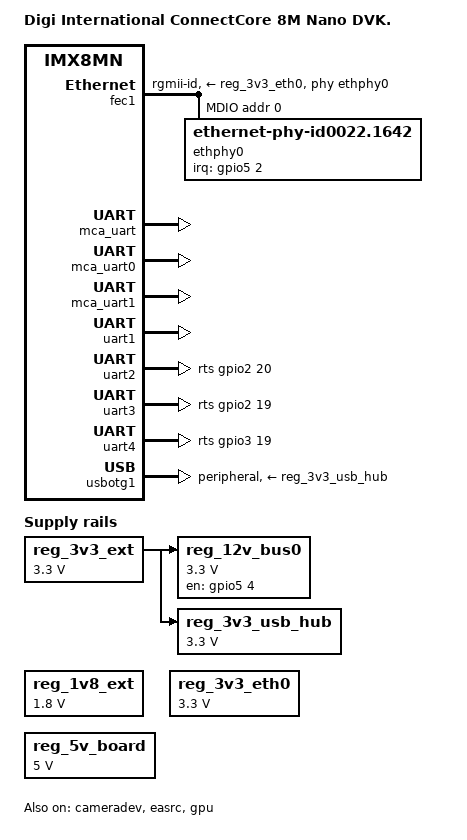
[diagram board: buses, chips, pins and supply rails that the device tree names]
/*
 * Copyright (C) 2019-2025, Digi International Inc.
 *
 * Permission to use, copy, modify, and/or distribute this software for any
 * purpose with or without fee is hereby granted, provided that the above
 * copyright notice and this permission notice appear in all copies.
 * THE SOFTWARE IS PROVIDED "AS IS" AND THE AUTHOR DISCLAIMS ALL WARRANTIES
 * WITH REGARD TO THIS SOFTWARE INCLUDING ALL IMPLIED WARRANTIES OF
 * MERCHANTABILITY AND FITNESS. IN NO EVENT SHALL THE AUTHOR BE LIABLE FOR
 * ANY SPECIAL, DIRECT, INDIRECT, OR CONSEQUENTIAL DAMAGES OR ANY DAMAGES
 * WHATSOEVER RESULTING FROM LOSS OF USE, DATA OR PROFITS, WHETHER IN AN
 * ACTION OF CONTRACT, NEGLIGENCE OR OTHER TORTIOUS ACTION, ARISING OUT OF
 * OR IN CONNECTION WITH THE USE OR PERFORMANCE OF THIS SOFTWARE.
 */
// uart Versuche nr. 0054

/dts-v1/;

/*
 * The device tree for the ConnectCore 8M Nano DVK is made out of different
 * device tree include files that contain the common hardware of all variants.
 *
 * A U-Boot boot script applies additional overlays for variant-specific
 * hardware, including:
 *  - Overlay for ConnectCore 8M Nano variants with Wi-Fi
 *  - Overlay for ConnectCore 8M Nano variants with Bluetooth
 *
 * The boot script also applies a special overlay when running on
 * ConnectCore 8M Nano SOMs with hardware revision 1. This overlay changes
 * important interface configurations that are required to boot the system
 * properly on said hardware revision.
 *
 * If you are not going to use Digi's boot script, you can:
 *  - Manually add the overlays to U-Boot's "overlays" environment variable
 *  - Apply the overlay fragments manually to this device tree, if you don't
 *    use Digi U-Boot's "dboot" command
 */
/* i.MX8MN CPU */
#include "../freescale/imx8mn.dtsi"
/* Digi ConnectCore 8M Nano */
#include "ccimx8mn.dtsi"

/ {
	model = "Digi International ConnectCore 8M Nano DVK.";
	compatible = "digi,ccimx8mn-dvk", "digi,ccimx8mn", "digi,ccimx8m", "digi,ccimx8", "fsl,imx8mn";
	digi,machine,name = "ccimx8mn-dvk";

	chosen {
		bootargs = "console=ttymxc0,115200 earlycon=ec_imx6q,0x30860000,115200";
		stdout-path = &uart1;
	};


	regulators {
		compatible = "simple-bus";
		#address-cells = <1>;
		#size-cells = <0>;

		reg_3v3_ext: regulator@1 {
			compatible = "regulator-fixed";
			reg = <1>;
			regulator-name = "3v3_ext";
			regulator-min-microvolt = <3300000>;
			regulator-max-microvolt = <3300000>;
//			gpio = <&mca_gpio 9 GPIO_ACTIVE_HIGH>;	// AG29 RS232_RX
			enable-active-high;
			regulator-always-on;
			regulator-boot-on;
		};

		reg_1v8_ext: regulator@2 {
			compatible = "regulator-fixed";
			reg = <2>;
			regulator-name = "1v8_ext";
			regulator-min-microvolt = <1800000>;
			regulator-max-microvolt = <1800000>;
//			gpio = <&mca_gpio 14 GPIO_ACTIVE_HIGH>;	// AL26 ADC4
			enable-active-high;
			regulator-always-on;
			regulator-boot-on;
		};

/*		reg_3v3_eth0: regulator@3 {
			compatible = "regulator-fixed";
			reg = <3>;
			pinctrl-names = "default";
			pinctrl-0 = <&pinctrl_reg_3v3_eth0>;
			regulator-name = "3v3_eth0";
			regulator-min-microvolt = <3300000>;
			regulator-max-microvolt = <3300000>;
			gpio = <&gpio5 4 GPIO_ACTIVE_HIGH>;	// AF1 PS_EN
			enable-active-high;
			startup-delay-us = <10000>;
			vin-supply = <&reg_3v3_ext>;
		};*/

		reg_3v3_eth0: regulator-ethphy {
			compatible = "regulator-fixed";
			off-on-delay=<500000>;
			regulator-always-on;
			regulator-boot-on;
			
			regulator-min-microvolt = <3300000>;
			regulator-max-microvolt = <3300000>;
			regulator-name = "3v3_eth0";
			startup-delay-us = <200000>;
			
		};

		// PS_EN für 12V
		reg_12v_bus0: regulator@3 {
			compatible = "regulator-fixed";
			reg = <3>;
			pinctrl-names = "default";
			pinctrl-0 = <&pinctrl_reg_12v_bus0>;
			regulator-name = "3v3_eth0";
			regulator-min-microvolt = <3300000>;
			regulator-max-microvolt = <3300000>;
			gpio = <&gpio5 4 GPIO_ACTIVE_HIGH>;	// AF1 PS_EN
			enable-active-high;
			startup-delay-us = <10000>;
			vin-supply = <&reg_3v3_ext>;
		};

		reg_5v_board: regulator@4 {
			compatible = "regulator-fixed";
			reg = <4>;
			pinctrl-names = "default";
			pinctrl-0 = <&pinctrl_reg_5v_board>;
			regulator-name = "5v_board";
			regulator-min-microvolt = <5000000>;
			regulator-max-microvolt = <5000000>;
//			gpio = <&gpio1 6 GPIO_ACTIVE_HIGH>;		// E26 GPIB D5
			enable-active-high;
		};

/*		reg_3v3_audio: regulator@5 {
			compatible = "regulator-fixed";
			reg = <5>;
			pinctrl-names = "default";
			pinctrl-0 = <&pinctrl_reg_3v3_aud>;
			regulator-name = "3v3_audio";
			regulator-min-microvolt = <3300000>;
			regulator-max-microvolt = <3300000>;
//			gpio = <&gpio3 24 GPIO_ACTIVE_HIGH>;	// E27 TTL I Switch
			enable-active-high;
			startup-delay-us = <1000>;
			vin-supply = <&reg_3v3_ext>;
		};
*/
		reg_3v3_usb_hub: regulator@6 {
			compatible = "regulator-fixed";
			reg = <6>;
			pinctrl-names = "default";
			pinctrl-0 = <&pinctrl_reg_3v3_usb_hub>;
			regulator-name = "3v3_usb_hub";
			regulator-min-microvolt = <3300000>;
			regulator-max-microvolt = <3300000>;
//			gpio = <&gpio3 25 GPIO_ACTIVE_HIGH>;	// C24 TTL I Frei
			enable-active-high;
			vin-supply = <&reg_3v3_ext>;
		};

	};

};

&cameradev {
	status = "okay";
};

&easrc {
	fsl,asrc-rate  = <48000>;
	status = "okay";
};


&fec1 {
	pinctrl-names = "default";
	pinctrl-0 = <&pinctrl_fec1_gpio>,
		    <&pinctrl_fec1>;
	phy-mode = "rgmii-id";
	phy-handle = <&ethphy0>;
	digi,mdio-lt-supply = <&reg_1v8_ext>;
	phy-supply = <&reg_3v3_eth0>;
//	phy-supply = <&reg_12v_bus0>;	// enables 12V bus0 supply; wrong place! 
	
	/* @Mezrher This will have no effect because fec reset uncomented in fec_mxc.c*/
	
	//phy-reset-gpios = <&gpio5 3 GPIO_ACTIVE_LOW>;  
	//phy-reset-duration = <1>;
	//digi,phy-reset-in-suspend;
	
       
	fsl,magic-packet;
	status = "okay";

	mdio {
		#address-cells = <1>;
		#size-cells = <0>;

		ethphy0: ethernet-phy@0 {
			compatible = "ethernet-phy-id0022.1642","ethernet-phy-ieee802.3-c22";
			reg = <0>;
		 	interrupt-parent = <&gpio5>;         
			interrupts = <2 IRQ_TYPE_LEVEL_LOW>;  
			micrel,led-mode=<1>;
		};
	};
};
/*
&fec1 {
	pinctrl-names = "default";
	pinctrl-0 = <&pinctrl_fec1_gpio>,
		    <&pinctrl_fec1>;
	phy-mode = "rgmii-id";
	phy-handle = <&ethphy0>;
	digi,mdio-lt-supply = <&reg_1v8_ext>;
	phy-supply = <&reg_3v3_eth0>;
	phy-reset-gpios = <&gpio5 3 GPIO_ACTIVE_LOW>;
	phy-reset-duration = <1>;
	digi,phy-reset-in-suspend;
	fsl,magic-packet;
	status = "okay";

	mdio {
		#address-cells = <1>;
		#size-cells = <0>;

		ethphy0: ethernet-phy@0 {
			compatible = "ethernet-phy-ieee802.3-c22";
			reg = <0>;
			at803x,eee-disabled;
			vddio-supply = <&vddio0>;

			vddio0: vddio-regulator {
				regulator-min-microvolt = <1800000>;
				regulator-max-microvolt = <1800000>;
			};
		};
	};
};
*/
&gpu {
	status = "okay";
};

/*
 * I2C2 connected to Audio codec.
 * Also available on:
 * - LVDS connector
 * - PCIe connector
 * - MIPI Camera connector
 * - Expansion connector
 */
/*
&i2c2 {
	#address-cells = <1>;
	#size-cells = <0>;
	clock-frequency = <100000>;
	pinctrl-names = "default", "gpio";
	pinctrl-0 = <&pinctrl_i2c2>;
	pinctrl-1 = <&pinctrl_i2c2_gpio>;
	scl-gpios = <&gpio5 16 (GPIO_ACTIVE_HIGH | GPIO_OPEN_DRAIN)>;
	sda-gpios = <&gpio5 17 (GPIO_ACTIVE_HIGH | GPIO_OPEN_DRAIN)>;
	status = "okay";
};
*/
/*
 * I2C3 connected to LT8912 MIPI-to-HDMI bridge and SN65DSI83 MIPI-to-LVDS bridge.
 * Also available on the HDMI connector.
 */
/*&i2c3 {
	clock-frequency = <100000>;
	pinctrl-names = "default", "gpio";
	pinctrl-0 = <&pinctrl_i2c3>;
	pinctrl-1 = <&pinctrl_i2c3_gpio>;
	scl-gpios = <&gpio5 18 (GPIO_ACTIVE_HIGH | GPIO_OPEN_DRAIN)>;
	sda-gpios = <&gpio5 19 (GPIO_ACTIVE_HIGH | GPIO_OPEN_DRAIN)>;
	status = "okay";

};*/

/* Expansion I2C port bus */
/*&i2c4 {
	clock-frequency = <100000>;
	pinctrl-names = "default", "gpio";
	pinctrl-0 = <&pinctrl_i2c4>;
	pinctrl-1 = <&pinctrl_i2c4_gpio>;
	scl-gpios = <&gpio5 20 (GPIO_ACTIVE_HIGH | GPIO_OPEN_DRAIN)>;
	sda-gpios = <&gpio5 21 (GPIO_ACTIVE_HIGH | GPIO_OPEN_DRAIN)>;
	status = "okay";
};

&isi_0 {
	status = "okay";

	cap_device {
		status = "okay";
	};
};

&lcdif {
	status = "okay";
};
*/
/*
 * Uncomment to enable MCA ADC channels on the XBee Cellular socket:
 *  - MCA_IO1 (channel 1) at XBEE1_UART_TX
 *  - MCA_IO2 (channel 2) at XBEE1_UART_RX
 *  - MCA_IO3 (channel 3) at XBEE1_UART_CTS
 *  - MCA_IO4 (channel 4) at XBEE1_UART_RTS
 *
 * These pins are used also by mca_uart2 below.
 * mca_uart2 must be disabled to be able to use these pins as ADCs.
 *
 * Edit adc-ch-list to include the ADC channels that you want to enable.
 */
&mca_adc {
	digi,adc-ch-list = <1 2 3 4 14>;
	digi,adc-vref = <3000000>;
};

/*
 * Uncomment to Enable Tamper detection. There are 2 digital (0 and 1) and 2
 * analog (2 and 3) tamper interfaces.
 */
//&mca_tamper {
//	digi,tamper-if-list = <0 1 2 3>;
//};

&mca_uart {
	status = "okay";
};

/* Assign the IO pins (see bindings) and change status to okay */
&mca_uart0 {	// RS232
	iopins-names = "rx", "tx";
	iopins = <9 10>;
	status = "okay";
};

/* Assign the IO pins (see bindings) and change status to okay */
&mca_uart1 {	// RS485
	iopins-names = "rx", "tx";
	iopins = <11 16>;
	status = "okay";
};

/* UART connected to XBee Cellular socket */
//&mca_uart2 {
//	iopins-names = "rx", "tx", "cts", "rts";
//	iopins = <2 1 3 4>;
//	status = "disabled";
//};
/*
&pwm2 {
	pinctrl-names = "default";
	pinctrl-0 = <&pinctrl_pwm2>;
	status = "okay";
};

&pwm3 {
	pinctrl-names = "default";
	pinctrl-0 = <&pinctrl_pwm3>;
	status = "okay";
};

&pwm4 {
	pinctrl-names = "default";
	pinctrl-0 = <&pinctrl_pwm4>;
	status = "okay";
};

*/
/* Console */
&uart1 {
	pinctrl-names = "default", "sleep";
	pinctrl-0 = <&pinctrl_uart1>;
	pinctrl-1 = <&pinctrl_uart1_sleep>;
	status = "okay";
};

// Bus0
/*
&uart2 {
	pinctrl-names = "default";
	assigned-clocks = <&clk IMX8MN_CLK_UART2>;
	assigned-clock-parents = <&clk IMX8MN_SYS_PLL1_80M>;
	pinctrl-0 = <&pinctrl_uart2>;
//	pinctrl-0 = <&pinctrl_uart2>, <&pinctrl_uart2_gpios>;
//	pinctrl-0 = <&pinctrl_uart2_bus0>;
	fsl,uart-has-rtscts;
	status = "okay";
};
*/
// Bus0
&uart2 {
	pinctrl-names = "default";
	assigned-clocks = <&clk IMX8MN_CLK_UART2>;
	assigned-clock-parents = <&clk IMX8MN_SYS_PLL1_80M>;
//	pinctrl-0 = <&pinctrl_uart2_rs485>, <&pinctrl_uart2_rs485_re>, <&pinctrl_uart2_gpios>;
	pinctrl-0 = <&pinctrl_uart2_rs485>, <&pinctrl_uart2_rs485_re>;
	rts-gpios = <&gpio2 20 GPIO_ACTIVE_HIGH>;
	status = "okay";
};

// Bus1
&uart3 {
	pinctrl-names = "default";
	assigned-clocks = <&clk IMX8MN_CLK_UART3>;
	assigned-clock-parents = <&clk IMX8MN_SYS_PLL1_80M>;
	pinctrl-0 = <&pinctrl_uart3_rs485>, <&pinctrl_uart3_rs485_re>;
	rts-gpios = <&gpio2 19 GPIO_ACTIVE_HIGH>;
//	rts-gpios = <&gpio5 8 GPIO_ACTIVE_HIGH>;
	status = "okay";
};


&uart4 {	// Bus 2 GPIO	Test: echo "a" > /dev/ttymxc3
	pinctrl-names = "default";
	pinctrl-0 = <&pinctrl_uart4_rs485>, <&pinctrl_uart4_rs485_re>;
	assigned-clocks = <&clk IMX8MN_CLK_UART4>;
	assigned-clock-parents = <&clk IMX8MN_SYS_PLL1_80M>;
	rts-gpios = <&gpio3 19 GPIO_ACTIVE_HIGH>;
	status = "okay";
};

/* USB_OTG1 connected to usb hub */
&usbotg1 {
	pinctrl-names = "default";
	pinctrl-0 = <&pinctrl_usbotg1>;

	vbus-supply = <&reg_3v3_usb_hub>;
//	dr_mode = "host";
	dr_mode = "peripheral";
	disable-over-current;
	status = "okay";
};

/* IOMUX */
&iomuxc {
	pinctrl-names = "default";
//	pinctrl-0 = <&pinctrl_hog>;
	pinctrl-0 = <&pinctrl_uart2_gpios>, <&pinctrl_ilock>, <&pinctrl_ttl_i>, <&pinctrl_ttl_o>, <&pinctrl_gpib>, <&pinctrl_gpios>;
//	pinctrl-0 = <&pinctrl_uart2_gpios>, <&pinctrl_ilock>, <&pinctrl_ttl_i>, <&pinctrl_ttl_o>;

	pinctrl_hog: hoggrp {
		fsl,pins = <
			/* GPIO1_IO10 on expansion connector */
//			MX8MN_IOMUXC_GPIO1_IO10_GPIO1_IO10	0x16
			/* GPIO1_IO11 on expansion connector */
//			MX8MN_IOMUXC_GPIO1_IO11_GPIO1_IO11	0x16
			/* User LED 3 */
//			MX8MN_IOMUXC_SD2_RESET_B_GPIO2_IO19	0x16
			/* User button 2 */
//			MX8MN_IOMUXC_SD2_WP_GPIO2_IO20	0x156
			/*
			 * Expansion I2C port IRQ.
			 * Remove if you plan on using this line for a device
			 * connected to the expansion I2C port.
			 */
//			MX8MN_IOMUXC_UART3_TXD_GPIO5_IO27	0x16
			/*
			 * Expansion I2C port GPIO.
			 * Remove if you plan on using this line for a device
			 * connected to the expansion I2C port.
			 */
//			MX8MN_IOMUXC_UART3_RXD_GPIO5_IO26	0x16
		>;
	};

	pinctrl_fec1_gpio: fec1gpiogrp {
		fsl,pins = <
			/* PHY reset */
			//MX8MN_IOMUXC_SPDIF_TX_GPIO5_IO3		0x19
			/* PHY interrupt */
			MX8MN_IOMUXC_SAI3_MCLK_GPIO5_IO2	0x19
		>;
	};

	pinctrl_fec1: fec1grp {
		fsl,pins = <
			MX8MN_IOMUXC_ENET_MDC_ENET1_MDC		0x3
			MX8MN_IOMUXC_ENET_MDIO_ENET1_MDIO	0x3
			MX8MN_IOMUXC_ENET_TD3_ENET1_RGMII_TD3	0x1f
			MX8MN_IOMUXC_ENET_TD2_ENET1_RGMII_TD2	0x1f
			MX8MN_IOMUXC_ENET_TD1_ENET1_RGMII_TD1	0x1f
			MX8MN_IOMUXC_ENET_TD0_ENET1_RGMII_TD0	0x1f
			MX8MN_IOMUXC_ENET_RD3_ENET1_RGMII_RD3	0x91
			MX8MN_IOMUXC_ENET_RD2_ENET1_RGMII_RD2	0x91
			MX8MN_IOMUXC_ENET_RD1_ENET1_RGMII_RD1	0x91
			MX8MN_IOMUXC_ENET_RD0_ENET1_RGMII_RD0	0x91
			MX8MN_IOMUXC_ENET_TXC_ENET1_RGMII_TXC	0x1f
			MX8MN_IOMUXC_ENET_RXC_ENET1_RGMII_RXC	0x91
			MX8MN_IOMUXC_ENET_RX_CTL_ENET1_RGMII_RX_CTL	0x91
			MX8MN_IOMUXC_ENET_TX_CTL_ENET1_RGMII_TX_CTL	0x1f
		>;
	};
/*
	pinctrl_flexspi: flexspigrp {
		fsl,pins = <
			MX8MN_IOMUXC_NAND_ALE_QSPI_A_SCLK	0x1c4
			MX8MN_IOMUXC_NAND_CE0_B_QSPI_A_SS0_B	0x84
			MX8MN_IOMUXC_NAND_DATA00_QSPI_A_DATA0	0x84
			MX8MN_IOMUXC_NAND_DATA01_QSPI_A_DATA1	0x84
			MX8MN_IOMUXC_NAND_DATA02_QSPI_A_DATA2	0x84
			MX8MN_IOMUXC_NAND_DATA03_QSPI_A_DATA3	0x84
		>;
	};
*/
/*	pinctrl_i2c2: i2c2grp {
		fsl,pins = <
			MX8MN_IOMUXC_I2C2_SCL_I2C2_SCL			0x400001c3
			MX8MN_IOMUXC_I2C2_SDA_I2C2_SDA			0x400001c3
		>;
	};

	pinctrl_i2c2_gpio: i2c2grp-gpio {
		fsl,pins = <
			MX8MN_IOMUXC_I2C2_SCL_GPIO5_IO16		0x1c3
			MX8MN_IOMUXC_I2C2_SDA_GPIO5_IO17		0x1c3
		>;
	};

	pinctrl_i2c3: i2c3grp {
		fsl,pins = <
			MX8MN_IOMUXC_I2C3_SCL_I2C3_SCL			0x400001c3
			MX8MN_IOMUXC_I2C3_SDA_I2C3_SDA			0x400001c3
		>;
	};

	pinctrl_i2c3_gpio: i2c3grp-gpio {
		fsl,pins = <
			MX8MN_IOMUXC_I2C3_SCL_GPIO5_IO18		0x1c3
			MX8MN_IOMUXC_I2C3_SDA_GPIO5_IO19		0x1c3
		>;
	};

	pinctrl_i2c4: i2c4grp {
		fsl,pins = <
			MX8MN_IOMUXC_I2C4_SCL_I2C4_SCL			0x400001c3
			MX8MN_IOMUXC_I2C4_SDA_I2C4_SDA			0x400001c3
		>;
	};

	pinctrl_i2c4_gpio: i2c4grp-gpio {
		fsl,pins = <
			MX8MN_IOMUXC_I2C4_SCL_GPIO5_IO20		0x1c3
			MX8MN_IOMUXC_I2C4_SDA_GPIO5_IO21		0x1c3
		>;
	};



	pinctrl_pwm2: pwm2grp {
		fsl,pins = <
//			MX8MN_IOMUXC_GPIO1_IO13_PWM2_OUT        0x16
		>;
	};

	pinctrl_pwm3: pwm3grp {
		fsl,pins = <
//			MX8MN_IOMUXC_GPIO1_IO14_PWM3_OUT        0x16
		>;
	};

	pinctrl_pwm4: pwm4grp {
		fsl,pins = <
//			MX8MN_IOMUXC_GPIO1_IO15_PWM4_OUT        0x16
		>;
	};
*/
	/* Ethernet PHYs regulator */
//	pinctrl_reg_3v3_eth0: pinctrl_reg_3v3_eth0grp {
//		fsl,pins = <
			/* PHY power */
//			MX8MN_IOMUXC_SPDIF_RX_GPIO5_IO4		0x41	// AF1 PS_EN
//		>;
//	};

	/* Bus 0 Power regulator */
	pinctrl_reg_12v_bus0: pinctrl_reg_12v_bus0grp {
		fsl,pins = <
			/* PHY power */
			MX8MN_IOMUXC_SPDIF_RX_GPIO5_IO4		0x41	// AF1 PS_EN
		>;
	};

	pinctrl_reg_5v_board: reg_5v_board_grp {
		fsl,pins = <
			/* 5V regulator power enable */
//			MX8MN_IOMUXC_GPIO1_IO06_GPIO1_IO6		0x41
		>;
	};

//	pinctrl_reg_3v3_aud: reg_3v3_aud_grp {
//		fsl,pins = <
			/* Audio power enable */
//			MX8MN_IOMUXC_SAI5_RXD3_GPIO3_IO24		0x41
//		>;
//	};

	pinctrl_reg_3v3_usb_hub: reg_3v3_usb_hub_grp {
		fsl,pins = <
			/* GPIO3_25 USB hub power enable */
//			MX8MN_IOMUXC_SAI5_MCLK_GPIO3_IO25		0x41
		>;
	};

	pinctrl_reg_3v3_board: reg_3v3_board_grp {
		fsl,pins = <
			/* GPIO3_19 board regulator enable */
//			MX8MN_IOMUXC_SAI5_RXFS_GPIO3_IO19		0x41
		>;
	};


	pinctrl_ilock: ilock_grp {	
		fsl,pins = <
			MX8MN_IOMUXC_SAI2_RXD0_GPIO4_IO23		0x41	// E21	Ext. Interlock
		>;
	};

	pinctrl_ttl_i: ttl_i_grp {	// TTL Inputs
		fsl,pins = <
			MX8MN_IOMUXC_SAI5_RXD0_GPIO3_IO21		0x41	// D19 	TTL_I_Amp_On
			MX8MN_IOMUXC_SAI5_RXD1_GPIO3_IO22		0x41	// AG8	TTL_I_HV_On
			MX8MN_IOMUXC_SAI5_RXD2_GPIO3_IO23		0x41	// E3 	TTL_I_Remote
			MX8MN_IOMUXC_SAI5_RXD3_GPIO3_IO24		0x41	// E27	TTL_I_Switch
			MX8MN_IOMUXC_SAI5_MCLK_GPIO3_IO25		0x41	// C24	TTL_I_Frei
		>;
	};

	pinctrl_ttl_o: ttl_o_grp {	// TTL Outputs
		fsl,pins = <
			MX8MN_IOMUXC_SAI5_RXC_GPIO3_IO20		0x16	// E24	TTL_O_SumAlarm
//				// AN26	TTL_O_Amp_On	mca_gpio 0
//				// AL22	TTL_O_HV_On		mca_gpio 13
//				// AL25	TTL_O_Remote	mca_gpio 15
//				// AM25	TTL_O_Ready		mca_gpio 12
		>;
	};

	pinctrl_gpib: gpibgrp {		// GPIB
		fsl,pins = <
			MX8MN_IOMUXC_GPIO1_IO00_GPIO1_IO0		0x19		// AA1	GPIB_D1	
			MX8MN_IOMUXC_GPIO1_IO01_GPIO1_IO1		0x16		// AN4	GPIB_D2	
			MX8MN_IOMUXC_GPIO1_IO03_GPIO1_IO3		0x140		// AG14	GPIB_D3	
			MX8MN_IOMUXC_GPIO1_IO04_GPIO1_IO4		0x16		// AN5	GPIB_D4	
			MX8MN_IOMUXC_GPIO1_IO06_GPIO1_IO6		0x41		// E26	GPIB_D5	
			MX8MN_IOMUXC_GPIO1_IO07_GPIO1_IO7		0x16		// AG9	GPIB_D6	
			MX8MN_IOMUXC_GPIO1_IO08_GPIO1_IO8		0x16		// AG11	GPIB_D7	
			MX8MN_IOMUXC_GPIO1_IO09_GPIO1_IO9		0x16		// AG12	GPIB_D8	
			MX8MN_IOMUXC_GPIO1_IO10_GPIO1_IO10		0x16		// AG13	GPIB_ATN
			MX8MN_IOMUXC_GPIO1_IO11_GPIO1_IO11		0x16		// AG10	GPIB_EOI
			MX8MN_IOMUXC_GPIO1_IO12_GPIO1_IO12		0x19		// C8	GPIB_SRQ	
			MX8MN_IOMUXC_GPIO1_IO13_GPIO1_IO13		0x16		// C9	GPIB_REN	
			MX8MN_IOMUXC_GPIO1_IO14_GPIO1_IO14		0x16		// C7	GPIB_IFC
			MX8MN_IOMUXC_GPIO1_IO15_GPIO1_IO15		0x16		// C11	GPIB_DAV	

			MX8MN_IOMUXC_SD2_DATA0_GPIO2_IO15		0x16		// G1	GPIB_DC	
			MX8MN_IOMUXC_SD2_DATA1_GPIO2_IO16		0x16		// H1	GPIB_TE
			MX8MN_IOMUXC_SD2_CLK_GPIO2_IO13			0x16		// L1	GPIB_NRFD
			MX8MN_IOMUXC_SD2_CMD_GPIO2_IO14			0x16		// F1	GPIB_PE
			MX8MN_IOMUXC_SD2_CD_B_GPIO2_IO12		0x1C4		// G2	GPIB_NDAC	
			MX8MN_IOMUXC_SAI3_TXC_GPIO5_IO0			0x140		// E13	GPIB_SC	
		>;
	};

	pinctrl_gpios: gpios_grp {	// GPIO Pins
		fsl,pins = <
			MX8MN_IOMUXC_SAI2_TXFS_GPIO4_IO24		0x16	// C19 	GPIO_3V_0
			MX8MN_IOMUXC_SAI2_TXC_GPIO4_IO25		0x16	// E23 	GPIO_3V_1
			MX8MN_IOMUXC_SAI2_TXD0_GPIO4_IO26		0x16	// E20 	GPIO_3V_2
			MX8MN_IOMUXC_SAI2_MCLK_GPIO4_IO27		0x16	// B24	GPIO_3V_3
			MX8MN_IOMUXC_SAI3_RXFS_GPIO4_IO28		0x19	// E28	GPIO_3V_4
			MX8MN_IOMUXC_SAI3_RXC_GPIO4_IO29		0x16	// F12	GPIO_3V_5
			MX8MN_IOMUXC_SAI3_RXD_GPIO4_IO30		0x16	// F11	GPIO_3V_6
			MX8MN_IOMUXC_SAI3_TXFS_GPIO4_IO31		0x16	// E12	GPIO_3V_7

			MX8MN_IOMUXC_SAI3_TXD_GPIO5_IO1			0x16	// F29	GPIO_3V_8
			MX8MN_IOMUXC_ECSPI2_MOSI_GPIO5_IO11		0x16	// E18	GPIO_3V_15
			MX8MN_IOMUXC_ECSPI2_MISO_GPIO5_IO12		0x16	// E22	GPIO_3V_16
			MX8MN_IOMUXC_ECSPI2_SS0_GPIO5_IO13		0x16	// E19	GPIO_3V_17
			MX8MN_IOMUXC_UART1_RXD_GPIO5_IO22		0x16	// E17	GPIO_3V_18
			MX8MN_IOMUXC_ECSPI2_SCLK_GPIO5_IO10		0x16	// D17	GPIO_3V_22
			MX8MN_IOMUXC_SPDIF_EXT_CLK_GPIO5_IO5	0x16	// Y1	TEMP_DQ
		>;
	};


	pinctrl_uart1: uart1grp {
		fsl,pins = <
			MX8MN_IOMUXC_SAI2_RXC_UART1_DCE_RX	0x140
			MX8MN_IOMUXC_SAI2_RXFS_UART1_DCE_TX	0x140
		>;
	};

	pinctrl_uart1_sleep: uart1sleepgrp {
		fsl,pins = <
			MX8MN_IOMUXC_SAI2_RXC_GPIO4_IO22	0x100
			MX8MN_IOMUXC_SAI2_RXFS_GPIO4_IO21	0x100
		>;
	};

	pinctrl_uart2: uart2grp {		// BUS 0
		fsl,pins = <
			MX8MN_IOMUXC_UART2_RXD_UART2_DCE_RX		0x140		// C18	TP90
			MX8MN_IOMUXC_UART2_TXD_UART2_DCE_TX		0x140		// C17	TP92
			MX8MN_IOMUXC_SAI3_RXD_UART2_DCE_RTS_B	0x140	// F11	GPIO3V_6	R181
			MX8MN_IOMUXC_SAI3_RXC_UART2_DCE_CTS_B	0x140	// F12	GPIO3V_5	R151
//			MX8MN_IOMUXC_SD2_WP_GPIO2_IO20		0x16			// F3	TP91
//			MX8MN_IOMUXC_SD2_WP_GPIO2_IO20		0x140			// F3	TP91
		>;
	};

	pinctrl_uart2_rs485: uart2_rs485grp {		// BUS 0
		fsl,pins = <
			MX8MN_IOMUXC_UART2_RXD_UART2_DCE_RX		0x140		// C18	TP90
			MX8MN_IOMUXC_UART2_TXD_UART2_DCE_TX		0x140		// C17	TP92
//			MX8MN_IOMUXC_SAI3_RXD_UART2_DCE_RTS_B		0x140	// F11	GPIO3V_6	R181	
//			MX8MN_IOMUXC_SAI3_RXC_UART2_DCE_CTS_B	0x140		// F12	GPIO3V_5	R151
//			MX8MN_IOMUXC_SD2_WP_GPIO2_IO20		0x16			// F3	TP91
//			MX8MN_IOMUXC_SD2_WP_GPIO2_IO20		0x140			// F3	TP91
		>;
	};

	pinctrl_uart2_rs485_re: uart2_rs485grp_re {
		fsl,pins = <
			/* RS485 RE#/DE line */
			MX8MN_IOMUXC_SD2_WP_GPIO2_IO20		0x16			// F3	TP91
		>;
	};

	pinctrl_uart2_gpios: uart2_gpiogrp {	// BUS 0
		fsl,pins = <
//			MX8MN_IOMUXC_UART1_TXD_GPIO5_IO23	0x140	// Mst D18		Pull-up	0-aktiv
//			MX8MN_IOMUXC_UART3_RXD_GPIO5_IO26	0x100	// Slv AG26	Pull-dn	0-aktiv
//			MX8MN_IOMUXC_UART3_TXD_GPIO5_IO27	0x100	// DIR AG27	Pull-dn	
			MX8MN_IOMUXC_UART1_TXD_GPIO5_IO23	0x16	// Mst D18		Pull-up	0-aktiv
			MX8MN_IOMUXC_UART3_RXD_GPIO5_IO26	0x16	// Slv AG26	Pull-dn	0-aktiv
			MX8MN_IOMUXC_UART3_TXD_GPIO5_IO27	0x16	// DIR AG27	Pull-dn	
		>;
	};


/*	pinctrl_uart2_bus0: uart2grp {
		fsl,pins = <
			MX8MN_IOMUXC_UART2_RXD_UART2_DCE_RX		0x140	// C18	TP90
			MX8MN_IOMUXC_UART2_TXD_UART2_DCE_TX		0x140	// C17	TP92
//			MX8MN_IOMUXC_SAI3_RXD_UART2_DCE_RTS_B	0x140	// F11	GPIO3V_6	R181
//			MX8MN_IOMUXC_SAI3_RXC_UART2_DCE_CTS_B	0x140	// F12	GPIO3V_5	R151
			MX8MN_IOMUXC_SD2_WP_GPIO2_IO20		0x16	// F3	TP91
		>;
	};
*/

/*	pinctrl_uart3: uart3grp {		// BUS 1
		fsl,pins = <
			MX8MN_IOMUXC_ECSPI1_SCLK_UART3_DCE_RX		0x140		// R1	
			MX8MN_IOMUXC_ECSPI1_MOSI_UART3_DCE_TX		0x140		// P1
			MX8MN_IOMUXC_ECSPI1_SS0_UART3_DCE_RTS_B		0x140		// N29	
			MX8MN_IOMUXC_ECSPI1_MISO_UART3_DCE_CTS_B	0x140		// M29
//			MX8MN_IOMUXC_SD2_RESET_B_GPIO2_IO19		0x16			// E4	ENA
//			MX8MN_IOMUXC_SD2_RESET_B_GPIO2_IO19		0x140			// E4	ENA
		>;
	};*/

	pinctrl_uart3: uart3grp {
		fsl,pins = <
			MX8MN_IOMUXC_ECSPI1_SCLK_UART3_DCE_RX		0x140
			MX8MN_IOMUXC_ECSPI1_MOSI_UART3_DCE_TX		0x140
			MX8MN_IOMUXC_ECSPI1_SS0_UART3_DCE_RTS_B		0x140
			MX8MN_IOMUXC_ECSPI1_MISO_UART3_DCE_CTS_B	0x140
		>;
	};

//	pinctrl_uart3_re_disable_v1_v2: uart3grp_re_disable_v1_v2 {
//		fsl,pins = <
			/*
			 * Configure RS485 RE#/DE line as pull-up to disable
			 * RS485 transceiver.
			 */
//			MX8MN_IOMUXC_GPIO1_IO03_GPIO1_IO3		0x140
//		>;
//	};

	pinctrl_uart3_rs485: uart3_rs485grp {
		fsl,pins = <
			MX8MN_IOMUXC_ECSPI1_SCLK_UART3_DCE_RX		0x140
			MX8MN_IOMUXC_ECSPI1_MOSI_UART3_DCE_TX		0x140
		>;
	};

	pinctrl_uart3_rs485_re: uart3_rs485grp_re {
		fsl,pins = <
			/* RS485 RE#/DE line */
//			MX8MN_IOMUXC_ECSPI1_MISO_GPIO5_IO8		0x16			// M29/81	CTS
			MX8MN_IOMUXC_SD2_RESET_B_GPIO2_IO19		0x16			// E4	ENA
//			MX8MN_IOMUXC_SD2_RESET_B_GPIO2_IO19		0x140			// E4	ENA
		>;
	};

//	pinctrl_uart3_rs485_re_v1_v2: uart3_rs485grp_re_v1_v2 {
//		fsl,pins = <
			/* RS485 RE#/DE line */
//			MX8MN_IOMUXC_GPIO1_IO03_GPIO1_IO3		0x16
//		>;
//	};

	pinctrl_uart4: uart4grp {	// Bus 2
		fsl,pins = <
			MX8MN_IOMUXC_UART4_RXD_UART4_DCE_RX		0x140	// U29	TP62
			MX8MN_IOMUXC_UART4_TXD_UART4_DCE_TX		0x140	// T29	TP60
			MX8MN_IOMUXC_ECSPI2_SS0_UART4_DCE_RTS_B		0x140	// E19	X02/51
			MX8MN_IOMUXC_ECSPI2_MISO_UART4_DCE_CTS_B	0x140	// E22	X02/49
		>;
	};

	pinctrl_uart4_rs485: uart4_rs485grp {		// BUS 2
		fsl,pins = <
			MX8MN_IOMUXC_UART4_RXD_UART4_DCE_RX		0x140	// U29	TP62
			MX8MN_IOMUXC_UART4_TXD_UART4_DCE_TX		0x140	// T29	TP60
		>;
	};

	pinctrl_uart4_rs485_re: uart4_rs485grp_re {
		fsl,pins = <
			/* RS485 RE#/DE line */
			MX8MN_IOMUXC_SAI5_RXFS_GPIO3_IO19		0x16			// E25	TP61
		>;
	};

	pinctrl_usbotg1: usbotg1grp {
		fsl,pins = <
			/* USB hub reset */
			MX8MN_IOMUXC_ECSPI2_SCLK_GPIO5_IO10		0x16
		>;
	};

};
